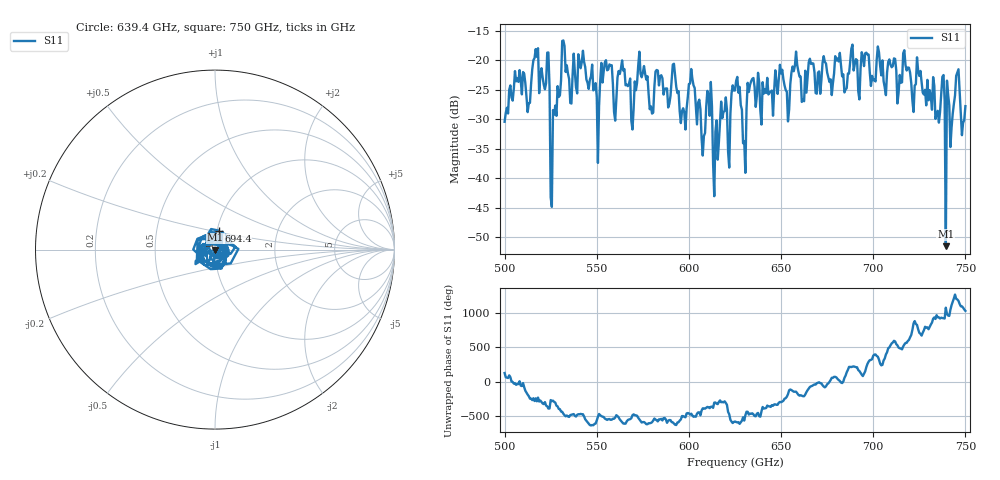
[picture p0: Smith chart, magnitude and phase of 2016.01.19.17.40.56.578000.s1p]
!Created with skrf (http://scikit-rf.org).
# GHz S RI R 50.0
!freq ReS11 ImS11
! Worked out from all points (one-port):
!   401 points, 500 GHz to 750 GHz, reference 50 ohm
!   lowest |S11| = -51.5 dB at 739.4 GHz (marker M1), VSWR 1.01, Z = 50.3 - j0.0209 ohm
!   |S11| at or under -10 dB: start of sweep to end of sweep
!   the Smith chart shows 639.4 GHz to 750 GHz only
!   S11 on the Smith chart (normalised r, x): 639.4 GHz: 1.02, -0.06; 694.4 GHz: 1.02, +0.22; 750 GHz: 1.05, -0.07
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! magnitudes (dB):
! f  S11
! 500 GHz  -30.4
! 506.9 GHz  -23.1
! 513.1 GHz  -27.3
! 516.9 GHz  -18.1
! 523.1 GHz  -18.7
! 526.2 GHz  -28.5
! 531.2 GHz  -16.8
! 550 GHz  -26.3
! 562.5 GHz  -22.4
! 570 GHz  -28.3
! 573.8 GHz  -22.3
! 579.4 GHz  -27.8
! 593.8 GHz  -25.6
! 601.9 GHz  -23.2
! 607.5 GHz  -36.2
! 611.2 GHz  -29.4
! 614.4 GHz  -32.1
! 625 GHz  -25.1
! 630 GHz  -33.7
! 633.1 GHz  -24.2
! 639.4 GHz  -30.9
! 656.2 GHz  -21.1
! 687.5 GHz  -20.3
! 694.4 GHz  -19.3
! 718.8 GHz  -21.3
! 739.4 GHz  -51.5
! 745.6 GHz  -22.1
! 750 GHz  -27.8
